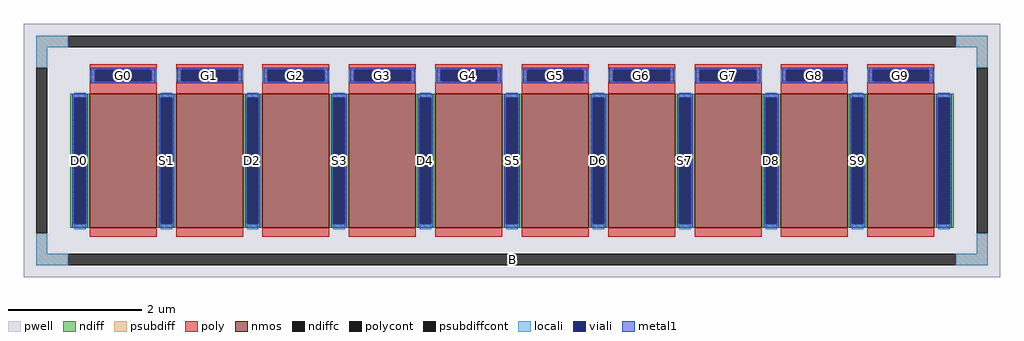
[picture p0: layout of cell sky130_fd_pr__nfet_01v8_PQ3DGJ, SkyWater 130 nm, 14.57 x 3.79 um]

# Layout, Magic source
magic
tech sky130A
magscale 1 2
<< pwell >>
rect -1457 -379 1457 379
<< nmos >>
rect -1261 -231 -1061 169
rect -1003 -231 -803 169
rect -745 -231 -545 169
rect -487 -231 -287 169
rect -229 -231 -29 169
rect 29 -231 229 169
rect 287 -231 487 169
rect 545 -231 745 169
rect 803 -231 1003 169
rect 1061 -231 1261 169
<< ndiff >>
rect -1319 157 -1261 169
rect -1319 -219 -1307 157
rect -1273 -219 -1261 157
rect -1319 -231 -1261 -219
rect -1061 157 -1003 169
rect -1061 -219 -1049 157
rect -1015 -219 -1003 157
rect -1061 -231 -1003 -219
rect -803 157 -745 169
rect -803 -219 -791 157
rect -757 -219 -745 157
rect -803 -231 -745 -219
rect -545 157 -487 169
rect -545 -219 -533 157
rect -499 -219 -487 157
rect -545 -231 -487 -219
rect -287 157 -229 169
rect -287 -219 -275 157
rect -241 -219 -229 157
rect -287 -231 -229 -219
rect -29 157 29 169
rect -29 -219 -17 157
rect 17 -219 29 157
rect -29 -231 29 -219
rect 229 157 287 169
rect 229 -219 241 157
rect 275 -219 287 157
rect 229 -231 287 -219
rect 487 157 545 169
rect 487 -219 499 157
rect 533 -219 545 157
rect 487 -231 545 -219
rect 745 157 803 169
rect 745 -219 757 157
rect 791 -219 803 157
rect 745 -231 803 -219
rect 1003 157 1061 169
rect 1003 -219 1015 157
rect 1049 -219 1061 157
rect 1003 -231 1061 -219
rect 1261 157 1319 169
rect 1261 -219 1273 157
rect 1307 -219 1319 157
rect 1261 -231 1319 -219
<< ndiffc >>
rect -1307 -219 -1273 157
rect -1049 -219 -1015 157
rect -791 -219 -757 157
rect -533 -219 -499 157
rect -275 -219 -241 157
rect -17 -219 17 157
rect 241 -219 275 157
rect 499 -219 533 157
rect 757 -219 791 157
rect 1015 -219 1049 157
rect 1273 -219 1307 157
<< psubdiff >>
rect -1421 309 -1325 343
rect 1325 309 1421 343
rect -1421 247 -1387 309
rect 1387 247 1421 309
rect -1421 -309 -1387 -247
rect 1387 -309 1421 -247
rect -1421 -343 -1325 -309
rect 1325 -343 1421 -309
<< psubdiffcont >>
rect -1325 309 1325 343
rect -1421 -247 -1387 247
rect 1387 -247 1421 247
rect -1325 -343 1325 -309
<< poly >>
rect -1261 241 -1061 257
rect -1261 207 -1245 241
rect -1077 207 -1061 241
rect -1261 169 -1061 207
rect -1003 241 -803 257
rect -1003 207 -987 241
rect -819 207 -803 241
rect -1003 169 -803 207
rect -745 241 -545 257
rect -745 207 -729 241
rect -561 207 -545 241
rect -745 169 -545 207
rect -487 241 -287 257
rect -487 207 -471 241
rect -303 207 -287 241
rect -487 169 -287 207
rect -229 241 -29 257
rect -229 207 -213 241
rect -45 207 -29 241
rect -229 169 -29 207
rect 29 241 229 257
rect 29 207 45 241
rect 213 207 229 241
rect 29 169 229 207
rect 287 241 487 257
rect 287 207 303 241
rect 471 207 487 241
rect 287 169 487 207
rect 545 241 745 257
rect 545 207 561 241
rect 729 207 745 241
rect 545 169 745 207
rect 803 241 1003 257
rect 803 207 819 241
rect 987 207 1003 241
rect 803 169 1003 207
rect 1061 241 1261 257
rect 1061 207 1077 241
rect 1245 207 1261 241
rect 1061 169 1261 207
rect -1261 -257 -1061 -231
rect -1003 -257 -803 -231
rect -745 -257 -545 -231
rect -487 -257 -287 -231
rect -229 -257 -29 -231
rect 29 -257 229 -231
rect 287 -257 487 -231
rect 545 -257 745 -231
rect 803 -257 1003 -231
rect 1061 -257 1261 -231
<< polycont >>
rect -1245 207 -1077 241
rect -987 207 -819 241
rect -729 207 -561 241
rect -471 207 -303 241
rect -213 207 -45 241
rect 45 207 213 241
rect 303 207 471 241
rect 561 207 729 241
rect 819 207 987 241
rect 1077 207 1245 241
<< locali >>
rect -1421 309 -1325 343
rect 1325 309 1421 343
rect -1421 247 -1387 309
rect 1387 247 1421 309
rect -1261 207 -1245 241
rect -1077 207 -1061 241
rect -1003 207 -987 241
rect -819 207 -803 241
rect -745 207 -729 241
rect -561 207 -545 241
rect -487 207 -471 241
rect -303 207 -287 241
rect -229 207 -213 241
rect -45 207 -29 241
rect 29 207 45 241
rect 213 207 229 241
rect 287 207 303 241
rect 471 207 487 241
rect 545 207 561 241
rect 729 207 745 241
rect 803 207 819 241
rect 987 207 1003 241
rect 1061 207 1077 241
rect 1245 207 1261 241
rect -1307 157 -1273 173
rect -1307 -235 -1273 -219
rect -1049 157 -1015 173
rect -1049 -235 -1015 -219
rect -791 157 -757 173
rect -791 -235 -757 -219
rect -533 157 -499 173
rect -533 -235 -499 -219
rect -275 157 -241 173
rect -275 -235 -241 -219
rect -17 157 17 173
rect -17 -235 17 -219
rect 241 157 275 173
rect 241 -235 275 -219
rect 499 157 533 173
rect 499 -235 533 -219
rect 757 157 791 173
rect 757 -235 791 -219
rect 1015 157 1049 173
rect 1015 -235 1049 -219
rect 1273 157 1307 173
rect 1273 -235 1307 -219
rect -1421 -309 -1387 -247
rect 1387 -309 1421 -247
rect -1421 -343 -1325 -309
rect 1325 -343 1421 -309
<< viali >>
rect -1245 207 -1077 241
rect -987 207 -819 241
rect -729 207 -561 241
rect -471 207 -303 241
rect -213 207 -45 241
rect 45 207 213 241
rect 303 207 471 241
rect 561 207 729 241
rect 819 207 987 241
rect 1077 207 1245 241
rect -1307 -219 -1273 157
rect -1049 -219 -1015 157
rect -791 -219 -757 157
rect -533 -219 -499 157
rect -275 -219 -241 157
rect -17 -219 17 157
rect 241 -219 275 157
rect 499 -219 533 157
rect 757 -219 791 157
rect 1015 -219 1049 157
rect 1273 -219 1307 157
<< metal1 >>
rect -1257 241 -1065 247
rect -1257 207 -1245 241
rect -1077 207 -1065 241
rect -1257 201 -1065 207
rect -999 241 -807 247
rect -999 207 -987 241
rect -819 207 -807 241
rect -999 201 -807 207
rect -741 241 -549 247
rect -741 207 -729 241
rect -561 207 -549 241
rect -741 201 -549 207
rect -483 241 -291 247
rect -483 207 -471 241
rect -303 207 -291 241
rect -483 201 -291 207
rect -225 241 -33 247
rect -225 207 -213 241
rect -45 207 -33 241
rect -225 201 -33 207
rect 33 241 225 247
rect 33 207 45 241
rect 213 207 225 241
rect 33 201 225 207
rect 291 241 483 247
rect 291 207 303 241
rect 471 207 483 241
rect 291 201 483 207
rect 549 241 741 247
rect 549 207 561 241
rect 729 207 741 241
rect 549 201 741 207
rect 807 241 999 247
rect 807 207 819 241
rect 987 207 999 241
rect 807 201 999 207
rect 1065 241 1257 247
rect 1065 207 1077 241
rect 1245 207 1257 241
rect 1065 201 1257 207
rect -1313 157 -1267 169
rect -1313 -219 -1307 157
rect -1273 -219 -1267 157
rect -1313 -231 -1267 -219
rect -1055 157 -1009 169
rect -1055 -219 -1049 157
rect -1015 -219 -1009 157
rect -1055 -231 -1009 -219
rect -797 157 -751 169
rect -797 -219 -791 157
rect -757 -219 -751 157
rect -797 -231 -751 -219
rect -539 157 -493 169
rect -539 -219 -533 157
rect -499 -219 -493 157
rect -539 -231 -493 -219
rect -281 157 -235 169
rect -281 -219 -275 157
rect -241 -219 -235 157
rect -281 -231 -235 -219
rect -23 157 23 169
rect -23 -219 -17 157
rect 17 -219 23 157
rect -23 -231 23 -219
rect 235 157 281 169
rect 235 -219 241 157
rect 275 -219 281 157
rect 235 -231 281 -219
rect 493 157 539 169
rect 493 -219 499 157
rect 533 -219 539 157
rect 493 -231 539 -219
rect 751 157 797 169
rect 751 -219 757 157
rect 791 -219 797 157
rect 751 -231 797 -219
rect 1009 157 1055 169
rect 1009 -219 1015 157
rect 1049 -219 1055 157
rect 1009 -231 1055 -219
rect 1267 157 1313 169
rect 1267 -219 1273 157
rect 1307 -219 1313 157
rect 1267 -231 1313 -219
<< labels >>
rlabel psubdiffcont 0 -326 0 -326 0 B
port 1 nsew
rlabel ndiffc -1290 -31 -1290 -31 0 D0
port 2 nsew
rlabel polycont -1161 224 -1161 224 0 G0
port 3 nsew
rlabel ndiffc -1032 -31 -1032 -31 0 S1
port 4 nsew
rlabel polycont -903 224 -903 224 0 G1
port 5 nsew
rlabel ndiffc -774 -31 -774 -31 0 D2
port 6 nsew
rlabel polycont -645 224 -645 224 0 G2
port 7 nsew
rlabel ndiffc -516 -31 -516 -31 0 S3
port 8 nsew
rlabel polycont -387 224 -387 224 0 G3
port 9 nsew
rlabel ndiffc -258 -31 -258 -31 0 D4
port 10 nsew
rlabel polycont -129 224 -129 224 0 G4
port 11 nsew
rlabel ndiffc 0 -31 0 -31 0 S5
port 12 nsew
rlabel polycont 129 224 129 224 0 G5
port 13 nsew
rlabel ndiffc 258 -31 258 -31 0 D6
port 14 nsew
rlabel polycont 387 224 387 224 0 G6
port 15 nsew
rlabel ndiffc 516 -31 516 -31 0 S7
port 16 nsew
rlabel polycont 645 224 645 224 0 G7
port 17 nsew
rlabel ndiffc 774 -31 774 -31 0 D8
port 18 nsew
rlabel polycont 903 224 903 224 0 G8
port 19 nsew
rlabel ndiffc 1032 -31 1032 -31 0 S9
port 20 nsew
rlabel polycont 1161 224 1161 224 0 G9
port 21 nsew
<< properties >>
string FIXED_BBOX -1404 -326 1404 326
string gencell sky130_fd_pr__nfet_01v8
string library sky130
string parameters w 2.0 l 1.0 m 1 nf 10 diffcov 100 polycov 100 guard 1 glc 1 grc 1 gtc 1 gbc 1 tbcov 100 rlcov 100 topc 1 botc 0 poverlap 0 doverlap 1 lmin 0.15 wmin 0.42 class mosfet compatible {sky130_fd_pr__nfet_01v8 sky130_fd_pr__nfet_01v8_lvt  sky130_fd_bs_flash__special_sonosfet_star  sky130_fd_pr__nfet_g5v0d10v5 sky130_fd_pr__nfet_05v0_nvt  sky130_fd_pr__nfet_03v3_nvt} full_metal 1 conn_gates 0 viasrc 100 viadrn 100 viagate 100 viagb 0 viagr 0 viagl 0 viagt 0 doports 1
<< end >>
